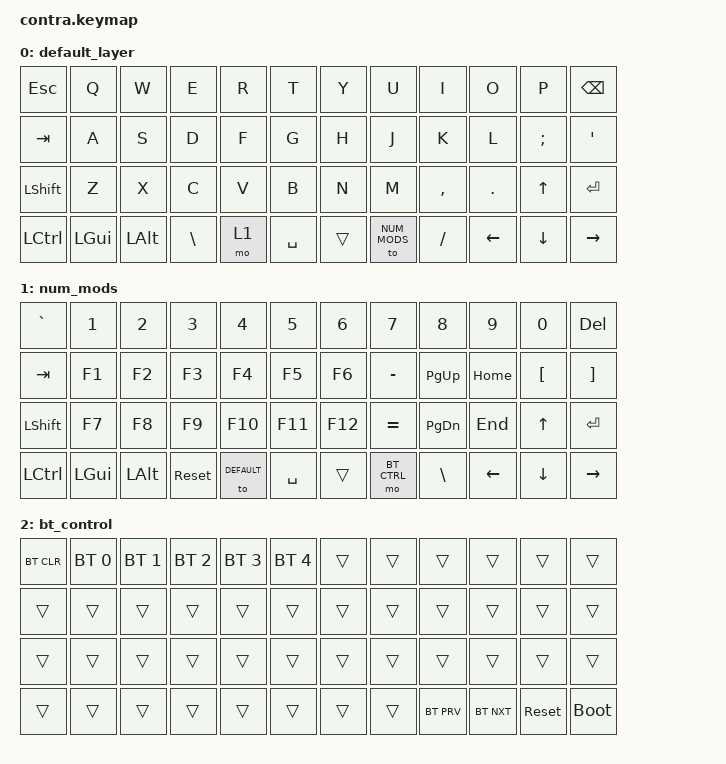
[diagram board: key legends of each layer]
/*
 * Copyright (c) 2021 The ZMK Contributors
 *
 * SPDX-License-Identifier: MIT
 */

#include <behaviors.dtsi>
#include <dt-bindings/zmk/bt.h>
#include <dt-bindings/zmk/keys.h>

#define DEFAULT  0
#define NUM_MODS 1
#define BT_CTRL  2

/ {
    keymap {
        compatible = "zmk,keymap";

        default_layer {
            bindings = <
&kp ESC    &kp Q     &kp W     &kp E     &kp R  &kp T      &kp Y   &kp U         &kp I      &kp O     &kp P         &kp BSPC
&kp TAB    &kp A     &kp S     &kp D     &kp F  &kp G      &kp H   &kp J         &kp K      &kp L     &kp SEMI      &kp SQT
&kp LSHFT  &kp Z     &kp X     &kp C     &kp V  &kp B      &kp N   &kp M         &kp COMMA  &kp DOT   &kp UP_ARROW  &kp ENTER
&kp LCTRL  &kp LGUI  &kp LALT  &kp BSLH  &mo 1  &kp SPACE  &trans  &to NUM_MODS  &kp SLASH  &kp LEFT  &kp DOWN      &kp RIGHT
            >;
        };

        num_mods {
            bindings = <
&kp GRAVE  &kp N1    &kp N2    &kp N3      &kp N4       &kp N5     &kp N6   &kp N7       &kp N8         &kp N9    &kp N0            &kp DEL
&kp TAB    &kp F1    &kp F2    &kp F3      &kp F4       &kp F5     &kp F6   &kp MINUS    &kp PG_UP      &kp HOME  &kp LEFT_BRACKET  &kp RIGHT_BRACKET
&kp LSHFT  &kp F7    &kp F8    &kp F9      &kp F10      &kp F11    &kp F12  &kp EQUAL    &kp PG_DN      &kp END   &kp UP_ARROW      &kp ENTER
&kp LCTRL  &kp LGUI  &kp LALT  &sys_reset  &to DEFAULT  &kp SPACE  &trans   &mo BT_CTRL  &kp BACKSLASH  &kp LEFT  &kp DOWN          &kp RIGHT
            >;
        };

        bt_control {
            bindings = <
&bt BT_CLR  &bt BT_SEL 0  &bt BT_SEL 1  &bt BT_SEL 2  &bt BT_SEL 3  &bt BT_SEL 4  &trans  &trans  &trans      &trans      &trans      &trans
&trans      &trans        &trans        &trans        &trans        &trans        &trans  &trans  &trans      &trans      &trans      &trans
&trans      &trans        &trans        &trans        &trans        &trans        &trans  &trans  &trans      &trans      &trans      &trans
&trans      &trans        &trans        &trans        &trans        &trans        &trans  &trans  &bt BT_PRV  &bt BT_NXT  &sys_reset  &bootloader
            >;
        };
    };
};
